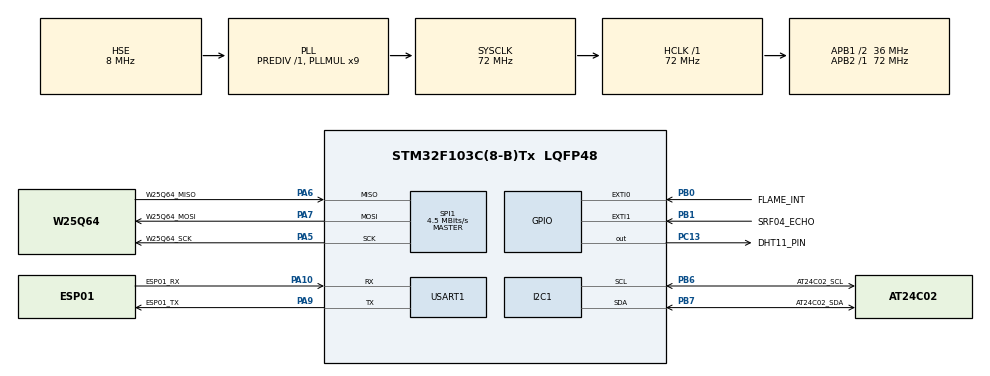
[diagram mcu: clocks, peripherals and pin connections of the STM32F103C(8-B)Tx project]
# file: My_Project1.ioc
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FREERTOS.BinarySemaphores01=UART_Semaphore,Dynamic,NULL,Available
FREERTOS.Queues01=Data_Queue,10,uint32_t,0,Dynamic,NULL,NULL
FREERTOS.Tasks01=defaultTask,0,128,StartDefaultTask,Default,NULL,Dynamic,NULL,NULL;Task_Collect,2,128,Task_CollectFunc,Default,NULL,Dynamic,NULL,NULL;Task_Send,0,128,Task_SendFunc,Default,NULL,Dynamic,NULL,NULL;Task_Receive,-2,128,Task_ReceiveFunc,Default,NULL,Dynamic,NULL,NULL
FREERTOS.configTOTAL_HEAP_SIZE=8192
Mcu.Family=STM32F1
Mcu.Name=STM32F103C(8-B)Tx
Mcu.Package=LQFP48
NVIC.EXTI0_IRQn=true\:5\:0\:false\:false\:true\:true\:true\:true\:true
NVIC.EXTI1_IRQn=true\:6\:0\:true\:false\:true\:true\:true\:true\:true
NVIC.PriorityGroup=NVIC_PRIORITYGROUP_4
NVIC.TIM2_IRQn=true\:15\:0\:false\:false\:true\:false\:false\:true\:true
NVIC.TimeBase=TIM2_IRQn
NVIC.TimeBaseIP=TIM2
NVIC.USART1_IRQn=true\:5\:0\:false\:false\:true\:true\:true\:true\:true
PA10.GPIO_Label=ESP01_RX
PA10.Mode=Asynchronous
PA10.Signal=USART1_RX
PA13.Mode=Serial_Wire
PA13.Signal=SYS_JTMS-SWDIO
PA14.Mode=Serial_Wire
PA14.Signal=SYS_JTCK-SWCLK
PA5.GPIO_Label=W25Q64_SCK
PA5.Mode=Full_Duplex_Master
PA5.Signal=SPI1_SCK
PA6.GPIO_Label=W25Q64_MISO
PA6.Mode=Full_Duplex_Master
PA6.Signal=SPI1_MISO
PA7.GPIO_Label=W25Q64_MOSI
PA7.Mode=Full_Duplex_Master
PA7.Signal=SPI1_MOSI
PA9.GPIO_Label=ESP01_TX
PA9.Mode=Asynchronous
PA9.Signal=USART1_TX
PB0.GPIO_Label=FLAME_INT
PB0.GPIO_ModeDefaultEXTI=GPIO_MODE_IT_FALLING
PB0.GPIO_PuPd=GPIO_PULLUP
PB0.Signal=GPXTI0
PB1.GPIO_Label=SRF04_ECHO
PB1.GPIO_ModeDefaultEXTI=GPIO_MODE_IT_RISING_FALLING
PB1.GPIO_PuPd=GPIO_PULLUP
PB1.Signal=GPXTI1
PB6.GPIO_Label=AT24C02_SCL
PB6.Mode=I2C
PB6.Signal=I2C1_SCL
PB7.GPIO_Label=AT24C02_SDA
PB7.Mode=I2C
PB7.Signal=I2C1_SDA
PC13-TAMPER-RTC.GPIO_Label=DHT11_PIN
PC13-TAMPER-RTC.GPIO_PuPd=GPIO_PULLUP
PC13-TAMPER-RTC.Signal=GPIO_Output
PD0-OSC_IN.GPIO_Label=OSC_IN
PD0-OSC_IN.Mode=HSE-External-Oscillator
PD0-OSC_IN.Signal=RCC_OSC_IN
PD1-OSC_OUT.GPIO_Label=OSC_OUT
PD1-OSC_OUT.Mode=HSE-External-Oscillator
PD1-OSC_OUT.Signal=RCC_OSC_OUT
ProjectManager.HeapSize=0x200
ProjectManager.StackSize=0x400
ProjectManager.TargetToolchain=MDK-ARM V5.27
RCC.AHBFreq_Value=72000000
RCC.APB1CLKDivider=RCC_HCLK_DIV2
RCC.APB1Freq_Value=36000000
RCC.APB1TimFreq_Value=72000000
RCC.APB2Freq_Value=72000000
RCC.APB2TimFreq_Value=72000000
RCC.HCLKFreq_Value=72000000
RCC.PLLMUL=RCC_PLL_MUL9
RCC.PLLSourceVirtual=RCC_PLLSOURCE_HSE
RCC.SYSCLKFreq_VALUE=72000000
RCC.SYSCLKSource=RCC_SYSCLKSOURCE_PLLCLK
RCC.USBFreq_Value=72000000
SPI1.BaudRatePrescaler=SPI_BAUDRATEPRESCALER_16
SPI1.CalculateBaudRate=4.5 MBits/s
SPI1.Direction=SPI_DIRECTION_2LINES
SPI1.Mode=SPI_MODE_MASTER
SPI1.VirtualType=VM_MASTER
USART1.VirtualMode=VM_ASYNC
VP_FREERTOS_VS_CMSIS_V1.Mode=CMSIS_V1
VP_SYS_VS_tim2.Mode=TIM2
board=custom

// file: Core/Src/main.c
/* USER CODE BEGIN Header */
/**
  ******************************************************************************
  * @file           : main.c
  * @brief          : Main program body
  ******************************************************************************
  * @attention
  *
  * Copyright (c) 2026 STMicroelectronics.
  * All rights reserved.
  *
  * This software is licensed under terms that can be found in the LICENSE file
  * in the root directory of this software component.
  * If no LICENSE file comes with this software, it is provided AS-IS.
  *
  ******************************************************************************
  */
/* USER CODE END Header */
#include "main.h"
#include "cmsis_os.h"
#include "i2c.h"
#include "spi.h"
#include "usart.h"
#include "gpio.h"

/* USER CODE BEGIN PFP */
/* USER CODE BEGIN Private defines */
void SystemClock_Config(void);
void MX_FREERTOS_Init(void);

/* USER CODE END Private defines */
/* USER CODE END PFP */

int main(void)
{

  /* MCU Configuration--------------------------------------------------------*/

  /* Reset of all peripherals, Initializes the Flash interface and the Systick. */
  HAL_Init();

  /* Configure the system clock */
  SystemClock_Config();

  /* Initialize all configured peripherals */
  MX_GPIO_Init();
  MX_I2C1_Init();
  MX_SPI1_Init();
  MX_USART1_UART_Init();

  /* Call init function for freertos objects (in cmsis_os2.c) */
  MX_FREERTOS_Init();

  /* Start scheduler */
  osKernelStart();

  /* We should never get here as control is now taken by the scheduler */

  /* Infinite loop */
  while (1)
  {

  }
}

void SystemClock_Config(void)
{
  RCC_OscInitTypeDef RCC_OscInitStruct = {0};
  RCC_ClkInitTypeDef RCC_ClkInitStruct = {0};

  /** Initializes the RCC Oscillators according to the specified parameters
  * in the RCC_OscInitTypeDef structure.
  */
  RCC_OscInitStruct.OscillatorType = RCC_OSCILLATORTYPE_HSE;
  RCC_OscInitStruct.HSEState = RCC_HSE_ON;
  RCC_OscInitStruct.HSEPredivValue = RCC_HSE_PREDIV_DIV1;
  RCC_OscInitStruct.HSIState = RCC_HSI_ON;
  RCC_OscInitStruct.PLL.PLLState = RCC_PLL_ON;
  RCC_OscInitStruct.PLL.PLLSource = RCC_PLLSOURCE_HSE;
  RCC_OscInitStruct.PLL.PLLMUL = RCC_PLL_MUL9;
  if (HAL_RCC_OscConfig(&RCC_OscInitStruct) != HAL_OK)
  {
    Error_Handler();
  }

  /** Initializes the CPU, AHB and APB buses clocks
  */
  RCC_ClkInitStruct.ClockType = RCC_CLOCKTYPE_HCLK|RCC_CLOCKTYPE_SYSCLK
                              |RCC_CLOCKTYPE_PCLK1|RCC_CLOCKTYPE_PCLK2;
  RCC_ClkInitStruct.SYSCLKSource = RCC_SYSCLKSOURCE_PLLCLK;
  RCC_ClkInitStruct.AHBCLKDivider = RCC_SYSCLK_DIV1;
  RCC_ClkInitStruct.APB1CLKDivider = RCC_HCLK_DIV2;
  RCC_ClkInitStruct.APB2CLKDivider = RCC_HCLK_DIV1;

  if (HAL_RCC_ClockConfig(&RCC_ClkInitStruct, FLASH_LATENCY_2) != HAL_OK)
  {
    Error_Handler();
  }
}

void HAL_TIM_PeriodElapsedCallback(TIM_HandleTypeDef *htim)
{
  if (htim->Instance == TIM2)
  {
    HAL_IncTick();
  }
}

void Error_Handler(void)
{
  __disable_irq();
  while (1)
  {
  }
}

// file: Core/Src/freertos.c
/* USER CODE BEGIN Header */
/**
  ******************************************************************************
  * File Name          : freertos.c
  * Description        : Code for freertos applications
  ******************************************************************************
  * @attention
  *
  * Copyright (c) 2026 STMicroelectronics.
  * All rights reserved.
  *
  * This software is licensed under terms that can be found in the LICENSE file
  * in the root directory of this software component.
  * If no LICENSE file comes with this software, it is provided AS-IS.
  *
  ******************************************************************************
  */
/* USER CODE END Header */

#include "FreeRTOS.h"
#include "task.h"
#include "main.h"
#include "cmsis_os.h"  // 严格CMSIS-V1头文件，无V2内容

/* USER CODE BEGIN Includes */
#include "dht11.h"
#include "srf04.h"
#include "at24c02.h"
#include "w25q64.h"
#include "esp01.h"
#include "ringbuff.h"
#include <string.h>
#include <stdio.h>
/* USER CODE END Includes */

/* USER CODE BEGIN PTD */
// 传感器数据结构体：大小17字节，远小于队列Item Size 32字节，可直接传输
typedef struct {
    float temp;       // 4字节
    float humi;       // 4字节
    float distance;   // 4字节
    uint8_t flame;    // 1字节
    uint8_t reserve[19]; // 填充到32字节，严格匹配队列Item Size（可选，不填也可）
} DataPacket_t;
/* USER CODE END PTD */

/* USER CODE BEGIN PD */
#define W25Q64_SAVE_ADDR  0x000000U
/* USER CODE END PD */

/* USER CODE BEGIN Variables */
// 外部火焰报警标志（中断→任务同步）
extern uint8_t Flame_Alarm_Flag;
/* USER CODE END Variables */
osThreadId defaultTaskHandle;
osThreadId Task_CollectHandle;
osThreadId Task_SendHandle;
osThreadId Task_ReceiveHandle;
osMessageQId Data_QueueHandle;  // CMSIS-V1队列句柄
osSemaphoreId UART_SemaphoreHandle;  // CMSIS-V1二进制信号量句柄

/* USER CODE BEGIN FunctionPrototypes */
void Parse_UART_Data(void);
/* USER CODE END FunctionPrototypes */

void StartDefaultTask(void const * argument);
void Task_CollectFunc(void const * argument);
void Task_SendFunc(void const * argument);
void Task_ReceiveFunc(void const * argument);

void MX_FREERTOS_Init(void); /* (MISRA C 2004 rule 8.1) */

/* GetIdleTaskMemory prototype (linked to static allocation support) */
void vApplicationGetIdleTaskMemory( StaticTask_t **ppxIdleTaskTCBBuffer, StackType_t **ppxIdleTaskStackBuffer, uint32_t *pulIdleTaskStackSize );

/* USER CODE BEGIN GET_IDLE_TASK_MEMORY */
static StaticTask_t xIdleTaskTCBBuffer;
static StackType_t xIdleStack[configMINIMAL_STACK_SIZE];

void vApplicationGetIdleTaskMemory( StaticTask_t **ppxIdleTaskTCBBuffer, StackType_t **ppxIdleTaskStackBuffer, uint32_t *pulIdleTaskStackSize )
{
  *ppxIdleTaskTCBBuffer = &xIdleTaskTCBBuffer;
  *ppxIdleTaskStackBuffer = &xIdleStack[0];
  *pulIdleTaskStackSize = configMINIMAL_STACK_SIZE;
}
/* USER CODE END GET_IDLE_TASK_MEMORY */

void MX_FREERTOS_Init(void) {

  /* Create the semaphores(s) */
  /* definition and creation of UART_Semaphore（严格二进制，初始Available=1） */
  osSemaphoreDef(UART_Semaphore);
  UART_SemaphoreHandle = osSemaphoreCreate(osSemaphore(UART_Semaphore), 1);

  /* Create the queue(s) */
  /* definition and creation of Data_Queue（严格匹配截图：长度10，Item Size 32字节） */
  osMessageQDef(Data_Queue, 10, 32);
  Data_QueueHandle = osMessageCreate(osMessageQ(Data_Queue), NULL);

  /* Create the thread(s) */
  /* definition and creation of defaultTask */
  osThreadDef(defaultTask, StartDefaultTask, osPriorityNormal, 0, 128);
  defaultTaskHandle = osThreadCreate(osThread(defaultTask), NULL);

  /* definition and creation of Task_Collect（严格截图配置：高优先级，栈128） */
  osThreadDef(Task_Collect, Task_CollectFunc, osPriorityHigh, 0, 128);
  Task_CollectHandle = osThreadCreate(osThread(Task_Collect), NULL);

  /* definition and creation of Task_Send（严格截图配置：中优先级，栈128） */
  osThreadDef(Task_Send, Task_SendFunc, osPriorityNormal, 0, 128);
  Task_SendHandle = osThreadCreate(osThread(Task_Send), NULL);

  /* definition and creation of Task_Receive（严格截图配置：低优先级，栈128） */
  osThreadDef(Task_Receive, Task_ReceiveFunc, osPriorityLow, 0, 128);
  Task_ReceiveHandle = osThreadCreate(osThread(Task_Receive), NULL);

}

void StartDefaultTask(void const * argument)
{
  /* USER CODE BEGIN StartDefaultTask */
  // 系统初始化：ESP01初始化（仅执行一次）
  ESP01_Init();

  /* Infinite loop */
  for(;;)
  {
    osDelay(100);
  }
  /* USER CODE END StartDefaultTask */
}

void Task_CollectFunc(void const * argument)
{
  /* USER CODE BEGIN Task_CollectFunc */
  DHT11_Data_t dht_data;
  DataPacket_t data;  // 局部结构体，直接入队列

  /* Infinite loop */
  for(;;)
  {
    // 1. 采集传感器数据
    DHT11_Read(&dht_data);
    SRF04_Start();

    // 填充结构体
    data.temp = dht_data.temp;
    data.humi = dht_data.humi;
    data.distance = SRF04_GetDistance();
    data.flame = HAL_GPIO_ReadPin(FLAME_INT_GPIO_Port, FLAME_INT_Pin);

    // 2. CMSIS-V1队列发送：osMessagePut（V1专属API，无V2内容）
    osMessagePut(Data_QueueHandle, (uint32_t)&data, osWaitForever);

    osDelay(100);
  }
  /* USER CODE END Task_CollectFunc */
}

void Task_SendFunc(void const * argument)
{
  /* USER CODE BEGIN Task_SendFunc */
  char send_buf[64];

  /* Infinite loop */
  for(;;)
  {
    // 修复：V1 正确队列接收（无参数错误）
    osEvent event = osMessageGet(Data_QueueHandle, osWaitForever);
    DataPacket_t *data = (DataPacket_t *)event.value.p;

    // 2. 本地存储：AT24C02
    AT24C02_Write(0x00, (uint8_t)data->temp);
    AT24C02_Write(0x01, (uint8_t)data->humi);

    // 3. ESP01上传数据
    sprintf(send_buf, "TEMP:%.1f HUMI:%.1f DIS:%.1f FLAME:%d",
            data->temp, data->humi, data->distance, data->flame);
    ESP01_SendData(send_buf);

    osDelay(10);
  }
  /* USER CODE END Task_SendFunc */
}

void Task_ReceiveFunc(void const * argument)
{
  /* USER CODE BEGIN Task_ReceiveFunc */
  /* Infinite loop */
  for(;;)
  {
    // ============= 火焰报警处理 =============
    if(Flame_Alarm_Flag == 1)
    {
      ESP01_SendData("ALARM: FIRE DETECTED!");
      Flame_Alarm_Flag = 0;
    }

    // ============= 串口数据处理 =============
    if(UART_Recv_Flag == 1)
    {
      Parse_UART_Data();
      UART_Recv_Flag = 0;
    }

    osDelay(10);  // 轮询延迟，不占CPU
  }
  /* USER CODE END Task_ReceiveFunc */
}

/* USER CODE BEGIN Application */
// 串口数据解析空实现（后续可补充业务逻辑）
void Parse_UART_Data(void)
{
  uint16_t len = RingBuff_GetLen(&esp01_rb);
  for(uint16_t i=0; i<len; i++)
  {
    uint8_t data = RingBuff_Read(&esp01_rb);
    // 自定义数据处理逻辑
  }
}
/* USER CODE END Application */
